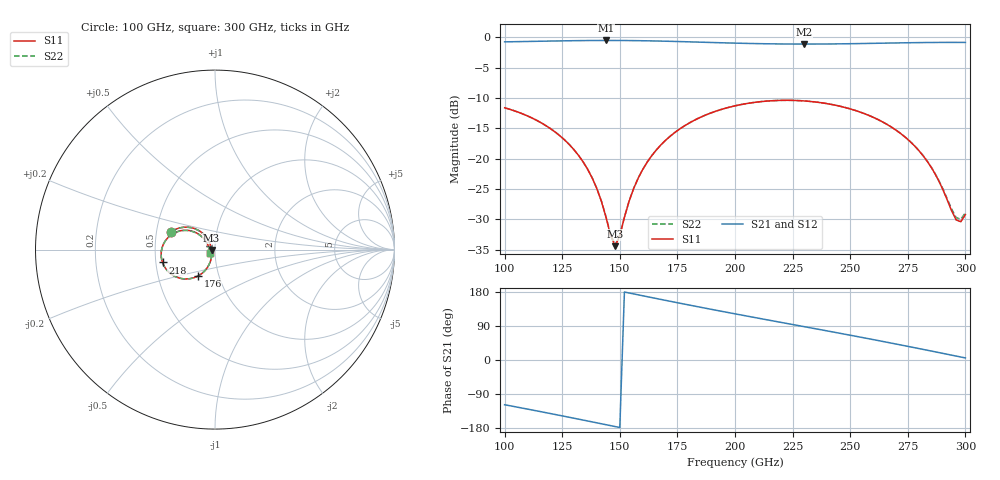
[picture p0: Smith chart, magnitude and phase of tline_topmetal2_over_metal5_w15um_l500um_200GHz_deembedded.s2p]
! Created with skrf 2.2.0 (http://scikit-rf.org).
# GHz S DB R 50.0
! Port[1] = P1
! Port[2] = P2
!freq dBS11 angS11 dBS21 angS21 dBS12 angS12 dBS22 angS22
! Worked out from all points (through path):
!   101 points, 100 GHz to 300 GHz, reference 50 ohm
!   highest |S21| = -0.55 dB at 144 GHz (marker M1); lowest = -1.1 dB at 230 GHz (marker M2)
!   group delay of S21, straight-line fit = 3.26 ps
!   lowest |S11| = -34.4 dB at 148 GHz (marker M3), VSWR 1.04, Z = 48.1 - j0.206 ohm
!   |S11| at or under -10 dB: start of sweep to end of sweep
!   |S22| runs from -34.2 to -10.4 dB; largest |S21 - S12| = 1e-13
!   S11 on the Smith chart (normalised r, x): 100 GHz: 0.60, +0.13; 176 GHz: 0.79, -0.24; 218 GHz: 0.54, -0.09; 300 GHz: 0.95, -0.04
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100  -11.62 157.6  -0.78 -118.1  -0.78 -118.1  -11.62 157.7
120  -15.08 136.6  -0.65 -141.5  -0.65 -141.5  -15.07 136.8
134  -20.48 125.3  -0.57 -158.4  -0.57 -158.4  -20.47 125.7
140  -24.89 126.0  -0.55 -165.8  -0.55 -165.8  -24.85 126.5
144  -29.61 136.8  -0.55 -170.7  -0.55 -170.7  -29.53 137.5
146  -32.61 153.7  -0.55 -173.2  -0.55 -173.2  -32.46 154.4
148  -34.39 -173.6  -0.55 -175.7  -0.55 -175.7  -34.18 -173.6
150  -32.65 -140.7  -0.55 -178.2  -0.55 -178.2  -32.52 -141.3
154  -27.04 -115.9  -0.57 176.9  -0.57 176.9  -27.00 -116.4
158  -23.19 -111.3  -0.58 171.9  -0.58 171.9  -23.17 -111.6
168  -17.67 -115.7  -0.65 159.7  -0.65 159.7  -17.66 -115.8
176  -15.11 -122.9  -0.73 150.0  -0.73 150.0  -15.11 -123.0
200  -11.30 -147.6  -0.99 121.8  -0.99 121.8  -11.30 -147.6
218  -10.43 -166.3  -1.11 101.5  -1.11 101.5  -10.42 -166.2
230  -10.50 -178.6  -1.14 88.0  -1.14 88.0  -10.49 -178.5
234  -10.63 177.3  -1.14 83.5  -1.14 83.5  -10.63 177.5
252  -12.04 159.2  -1.07 63.1  -1.07 63.1  -12.03 159.4
268  -14.83 144.1  -0.97 44.4  -0.97 44.4  -14.81 144.5
284  -20.74 135.3  -0.89 25.1  -0.89 25.1  -20.69 136.1
296  -30.07 175.4  -0.87 10.4  -0.87 10.4  -29.68 176.0
298  -30.37 -162.3  -0.87 7.9  -0.87 7.9  -29.96 -162.8
300  -29.20 -142.5  -0.87 5.4  -0.87 5.4  -28.89 -143.8
